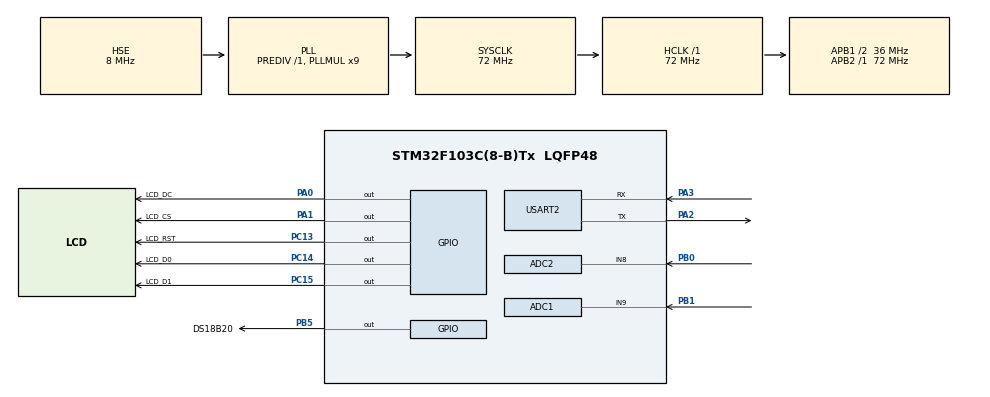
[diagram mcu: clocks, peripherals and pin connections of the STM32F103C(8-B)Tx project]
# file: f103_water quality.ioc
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ADC1.Channel-0\#ChannelRegularConversion=ADC_CHANNEL_9
ADC1.NbrOfConversionFlag=1
ADC1.Rank-0\#ChannelRegularConversion=1
ADC1.SamplingTime-0\#ChannelRegularConversion=ADC_SAMPLETIME_1CYCLE_5
ADC1.master=1
ADC2.Channel-0\#ChannelRegularConversion=ADC_CHANNEL_8
ADC2.NbrOfConversionFlag=1
ADC2.Rank-0\#ChannelRegularConversion=1
ADC2.SamplingTime-0\#ChannelRegularConversion=ADC_SAMPLETIME_1CYCLE_5
Mcu.Family=STM32F1
Mcu.Name=STM32F103C(8-B)Tx
Mcu.Package=LQFP48
NVIC.PriorityGroup=NVIC_PRIORITYGROUP_4
PA0-WKUP.GPIO_Label=LCD_DC
PA0-WKUP.GPIO_ModeDefaultOutputPP=GPIO_MODE_OUTPUT_PP
PA0-WKUP.GPIO_PuPd=GPIO_PULLUP
PA0-WKUP.GPIO_Speed=GPIO_SPEED_FREQ_HIGH
PA0-WKUP.PinState=GPIO_PIN_SET
PA0-WKUP.Signal=GPIO_Output
PA1.GPIO_Label=LCD_CS
PA1.GPIO_ModeDefaultOutputPP=GPIO_MODE_OUTPUT_PP
PA1.GPIO_PuPd=GPIO_PULLUP
PA1.GPIO_Speed=GPIO_SPEED_FREQ_HIGH
PA1.PinState=GPIO_PIN_SET
PA1.Signal=GPIO_Output
PA13.Mode=Serial_Wire
PA13.Signal=SYS_JTMS-SWDIO
PA14.Mode=Serial_Wire
PA14.Signal=SYS_JTCK-SWCLK
PA2.Mode=Asynchronous
PA2.Signal=USART2_TX
PA3.Mode=Asynchronous
PA3.Signal=USART2_RX
PB0.Signal=ADCx_IN8
PB1.Signal=ADCx_IN9
PB5.GPIO_Label=DS18B20
PB5.GPIO_ModeDefaultOutputPP=GPIO_MODE_OUTPUT_PP
PB5.GPIO_PuPd=GPIO_PULLUP
PB5.GPIO_Speed=GPIO_SPEED_FREQ_HIGH
PB5.PinState=GPIO_PIN_SET
PB5.Signal=GPIO_Output
PC13-TAMPER-RTC.GPIO_Label=LCD_RST
PC13-TAMPER-RTC.GPIO_ModeDefaultOutputPP=GPIO_MODE_OUTPUT_PP
PC13-TAMPER-RTC.GPIO_PuPd=GPIO_PULLUP
PC13-TAMPER-RTC.GPIO_Speed=GPIO_SPEED_FREQ_HIGH
PC13-TAMPER-RTC.PinState=GPIO_PIN_SET
PC13-TAMPER-RTC.Signal=GPIO_Output
PC14-OSC32_IN.GPIO_Label=LCD_D0
PC14-OSC32_IN.GPIO_ModeDefaultOutputPP=GPIO_MODE_OUTPUT_PP
PC14-OSC32_IN.GPIO_PuPd=GPIO_PULLUP
PC14-OSC32_IN.GPIO_Speed=GPIO_SPEED_FREQ_HIGH
PC14-OSC32_IN.PinState=GPIO_PIN_SET
PC14-OSC32_IN.Signal=GPIO_Output
PC15-OSC32_OUT.GPIO_Label=LCD_D1
PC15-OSC32_OUT.GPIO_PuPd=GPIO_PULLUP
PC15-OSC32_OUT.GPIO_Speed=GPIO_SPEED_FREQ_HIGH
PC15-OSC32_OUT.PinState=GPIO_PIN_SET
PC15-OSC32_OUT.Signal=GPIO_Output
PD0-OSC_IN.Mode=HSE-External-Oscillator
PD0-OSC_IN.Signal=RCC_OSC_IN
PD1-OSC_OUT.Mode=HSE-External-Oscillator
PD1-OSC_OUT.Signal=RCC_OSC_OUT
ProjectManager.HeapSize=0x200
ProjectManager.StackSize=0x400
ProjectManager.TargetToolchain=MDK-ARM V5.32
RCC.ADCPresc=RCC_ADCPCLK2_DIV6
RCC.AHBFreq_Value=72000000
RCC.APB1CLKDivider=RCC_HCLK_DIV2
RCC.APB1Freq_Value=36000000
RCC.APB1TimFreq_Value=72000000
RCC.APB2Freq_Value=72000000
RCC.APB2TimFreq_Value=72000000
RCC.HCLKFreq_Value=72000000
RCC.PLLMUL=RCC_PLL_MUL9
RCC.PLLSourceVirtual=RCC_PLLSOURCE_HSE
RCC.SYSCLKFreq_VALUE=72000000
RCC.SYSCLKSource=RCC_SYSCLKSOURCE_PLLCLK
RCC.USBFreq_Value=72000000
SH.ADCx_IN8.0=ADC2_IN8,IN8
SH.ADCx_IN9.0=ADC1_IN9,IN9
USART2.VirtualMode=VM_ASYNC
board=custom

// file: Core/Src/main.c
/* USER CODE BEGIN Header */
/**
  ******************************************************************************
  * @file           : main.c
  * @brief          : Main program body
  ******************************************************************************
  * @attention
  *
  * Copyright (c) 2025 STMicroelectronics.
  * All rights reserved.
  *
  * This software is licensed under terms that can be found in the LICENSE file
  * in the root directory of this software component.
  * If no LICENSE file comes with this software, it is provided AS-IS.
  *
  ******************************************************************************
  */
/* USER CODE END Header */
#include "main.h"
#include "adc.h"
#include "usart.h"
#include "gpio.h"

/* USER CODE BEGIN Includes */
#include "oled.h"
#include "ds18b20.h"
#include "threshold.h"
#include <stdio.h>
#include <string.h>
/* USER CODE END Includes */

/* USER CODE BEGIN PD */
#define BUFFER_SIZE 64
/* USER CODE END PD */

/* USER CODE BEGIN PV */
char uart_buffer[BUFFER_SIZE];
/* USER CODE END PV */

void SystemClock_Config(void);

int main(void)
{

  /* MCU Configuration--------------------------------------------------------*/

  /* Reset of all peripherals, Initializes the Flash interface and the Systick. */
  HAL_Init();

  /* Configure the system clock */
  SystemClock_Config();

  /* Initialize all configured peripherals */
  MX_GPIO_Init();
  MX_USART2_UART_Init();
  MX_ADC1_Init();
  MX_ADC2_Init();
  /* USER CODE BEGIN 2 */
	OLED_Init();
	OLED_ColorTurn(0);
	OLED_DisplayTurn(0);
	OLED_Clear();

	Threshold_Init();

	__HAL_UART_ENABLE_IT(&huart2, UART_IT_RXNE);
  /* USER CODE END 2 */

  /* Infinite loop */
  /* USER CODE BEGIN WHILE */
	OLED_ShowString(0,0,(uint8_t*)"Turbidity:",16,1);
	OLED_ShowString(0,20,(uint8_t*)"Temp:",16,1);
	OLED_ShowString(0,40,(uint8_t*)"PH:",16,1);
	OLED_Refresh();
  while (1)
  {
    /* USER CODE END WHILE */

    /* USER CODE BEGIN 3 */
		uint32_t turbidity = ADC1_ReadValue();
		OLED_ShowNum(88, 0, turbidity, 4, 16, 1);

		float temp = DS18B20_Get_Temp();
		if(temp < -100.0f)
		{
			OLED_ShowString(48, 20, (uint8_t*)"Err", 16, 1);
		}
		else
		{
			int16_t temp_int = (int16_t)(temp * 10);
			if(temp_int < 0)
			{
				OLED_ShowChar(48, 20, '-', 16, 1);
				temp_int = -temp_int;
			}
			else
			{
				OLED_ShowChar(48, 20, ' ', 16, 1);
			}
			OLED_ShowNum(56, 20, temp_int / 10, 2, 16, 1);
			OLED_ShowChar(72, 20, '.', 16, 1);
			OLED_ShowNum(80, 20, temp_int % 10, 1, 16, 1);
			OLED_ShowChar(88, 20, 'C', 16, 1);
		}

		uint32_t ph_raw = ADC2_ReadValue();
		float ph_value = 14.0f - (float)ph_raw * 14.0f / 4095.0f;
		uint16_t ph_int = (uint16_t)(ph_value * 10);
		OLED_ShowNum(32, 40, ph_int / 10, 1, 16, 1);
		OLED_ShowChar(40, 40, '.', 16, 1);
		OLED_ShowNum(48, 40, ph_int % 10, 1, 16, 1);

		OLED_Refresh();

		sprintf(uart_buffer, "Temp:%.1fC,Turbidity:%d,PH:%.1f\r\n", temp, turbidity, ph_value);
		HAL_UART_Transmit(&huart2, (uint8_t*)uart_buffer, strlen(uart_buffer), 0xFFFF);

		if(turbidity < thresholds.turbidity)
		{
			sprintf(uart_buffer, "ALARM: Turbidity low (%d < %d)\r\n", turbidity, thresholds.turbidity);
			HAL_UART_Transmit(&huart2, (uint8_t*)uart_buffer, strlen(uart_buffer), 0xFFFF);
		}

		if(temp >= -100.0f && temp < thresholds.temperature)
		{
			sprintf(uart_buffer, "ALARM: Temperature low (%.1f < %d)\r\n", temp, thresholds.temperature);
			HAL_UART_Transmit(&huart2, (uint8_t*)uart_buffer, strlen(uart_buffer), 0xFFFF);
		}

		if(ph_value < thresholds.ph)
		{
			sprintf(uart_buffer, "ALARM: PH low (%.1f < %d)\r\n", ph_value, thresholds.ph);
			HAL_UART_Transmit(&huart2, (uint8_t*)uart_buffer, strlen(uart_buffer), 0xFFFF);
		}

		UART_ProcessCommand();

		HAL_Delay(3000);
  }
  /* USER CODE END 3 */
}

void SystemClock_Config(void)
{
  RCC_OscInitTypeDef RCC_OscInitStruct = {0};
  RCC_ClkInitTypeDef RCC_ClkInitStruct = {0};
  RCC_PeriphCLKInitTypeDef PeriphClkInit = {0};

  /** Initializes the RCC Oscillators according to the specified parameters
  * in the RCC_OscInitTypeDef structure.
  */
  RCC_OscInitStruct.OscillatorType = RCC_OSCILLATORTYPE_HSE;
  RCC_OscInitStruct.HSEState = RCC_HSE_ON;
  RCC_OscInitStruct.HSEPredivValue = RCC_HSE_PREDIV_DIV1;
  RCC_OscInitStruct.HSIState = RCC_HSI_ON;
  RCC_OscInitStruct.PLL.PLLState = RCC_PLL_ON;
  RCC_OscInitStruct.PLL.PLLSource = RCC_PLLSOURCE_HSE;
  RCC_OscInitStruct.PLL.PLLMUL = RCC_PLL_MUL9;
  if (HAL_RCC_OscConfig(&RCC_OscInitStruct) != HAL_OK)
  {
    Error_Handler();
  }

  /** Initializes the CPU, AHB and APB buses clocks
  */
  RCC_ClkInitStruct.ClockType = RCC_CLOCKTYPE_HCLK|RCC_CLOCKTYPE_SYSCLK
                              |RCC_CLOCKTYPE_PCLK1|RCC_CLOCKTYPE_PCLK2;
  RCC_ClkInitStruct.SYSCLKSource = RCC_SYSCLKSOURCE_PLLCLK;
  RCC_ClkInitStruct.AHBCLKDivider = RCC_SYSCLK_DIV1;
  RCC_ClkInitStruct.APB1CLKDivider = RCC_HCLK_DIV2;
  RCC_ClkInitStruct.APB2CLKDivider = RCC_HCLK_DIV1;

  if (HAL_RCC_ClockConfig(&RCC_ClkInitStruct, FLASH_LATENCY_2) != HAL_OK)
  {
    Error_Handler();
  }
  PeriphClkInit.PeriphClockSelection = RCC_PERIPHCLK_ADC;
  PeriphClkInit.AdcClockSelection = RCC_ADCPCLK2_DIV6;
  if (HAL_RCCEx_PeriphCLKConfig(&PeriphClkInit) != HAL_OK)
  {
    Error_Handler();
  }
}

void Error_Handler(void)
{
  __disable_irq();
  while (1)
  {
  }
}
